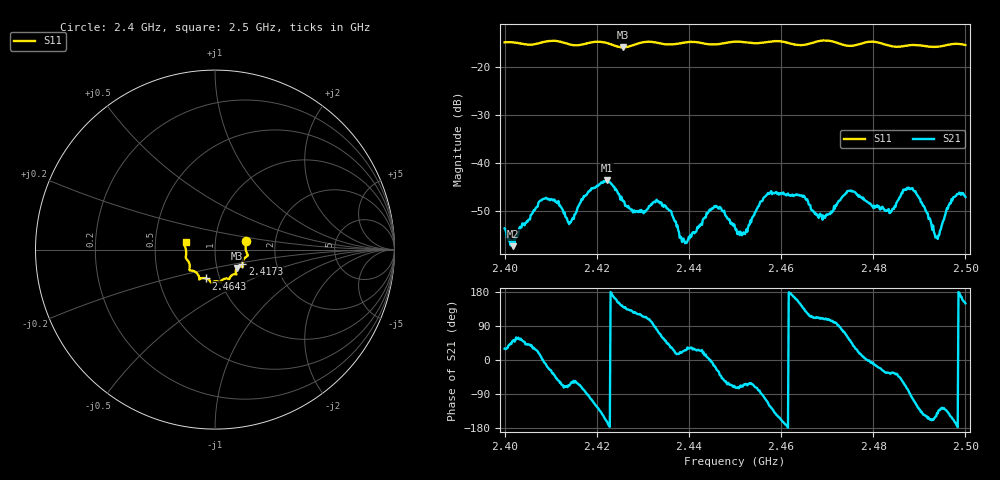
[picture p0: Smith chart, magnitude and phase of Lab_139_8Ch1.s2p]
# Hz S RI R 50
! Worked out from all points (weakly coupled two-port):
!   601 points, 2.4 GHz to 2.5 GHz, reference 50 ohm
!   highest |S21| = -43.52 dB at 2.4222 GHz (marker M1); lowest = -57.2 dB at 2.4018 GHz (marker M2)
!   lowest |S11| = -15.9 dB at 2.4257 GHz (marker M3), VSWR 1.38, Z = 62.4 - j13.1 ohm
!   |S11| at or under -10 dB: start of sweep to end of sweep
!   S12 and S22 are empty: the file has one direction only
!   S11 on the Smith chart (normalised r, x): 2.4 GHz: 1.41, +0.14; 2.4173 GHz: 1.34, -0.23; 2.4643 GHz: 0.86, -0.28; 2.5 GHz: 0.72, +0.06
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2.4e9  0.1731 0.0497  0.00183 0.00105  0 0  0 0
2.401833e9  0.1751 0.0423  0.00086 0.00108  0 0  0 0
2.408e9  0.178 -0.021  0.00409 0.000462  0 0  0 0
2.414167e9  0.1643 -0.0479  0.00101 -0.00223  0 0  0 0
2.416667e9  0.153 -0.0747  0.00135 -0.00401  0 0  0 0
2.417333e9  0.1523 -0.0822  0.000728 -0.00446  0 0  0 0
2.422167e9  0.1503 -0.0941  -0.00633 -0.00209  0 0  0 0
2.425667e9  0.1226 -0.1023  -0.00311 0.00258  0 0  0 0
2.433333e9  0.1126 -0.1368  0.00112 0.00387  0 0  0 0
2.439e9  0.0812 -0.1594  0.00141 0.000656  0 0  0 0
2.4455e9  0.0515 -0.1631  0.00344 -0.00093  0 0  0 0
2.45e9  0.0297 -0.181  0.000664 -0.00204  0 0  0 0
2.452167e9  0.0221 -0.179  0.000791 -0.00166  0 0  0 0
2.457333e9  -0.0152 -0.1818  -0.00223 -0.00424  0 0  0 0
2.464333e9  -0.0503 -0.1606  -0.00375 0.0027  0 0  0 0
2.466667e9  -0.0763 -0.1598  -0.00131 0.00299  0 0  0 0
2.474833e9  -0.1049 -0.128  0.00314 0.0041  0 0  0 0
2.483333e9  -0.1409 -0.0896  0.00278 -0.00187  0 0  0 0
2.488667e9  -0.162 -0.0476  -0.00131 -0.0051  0 0  0 0
2.493833e9  -0.1618 -0.00323  -0.00133 -0.00109  0 0  0 0
2.497e9  -0.1702 0.0266  -0.00371 -0.00206  0 0  0 0
2.5e9  -0.1636 0.0421  -0.00385 0.00227  0 0  0 0
